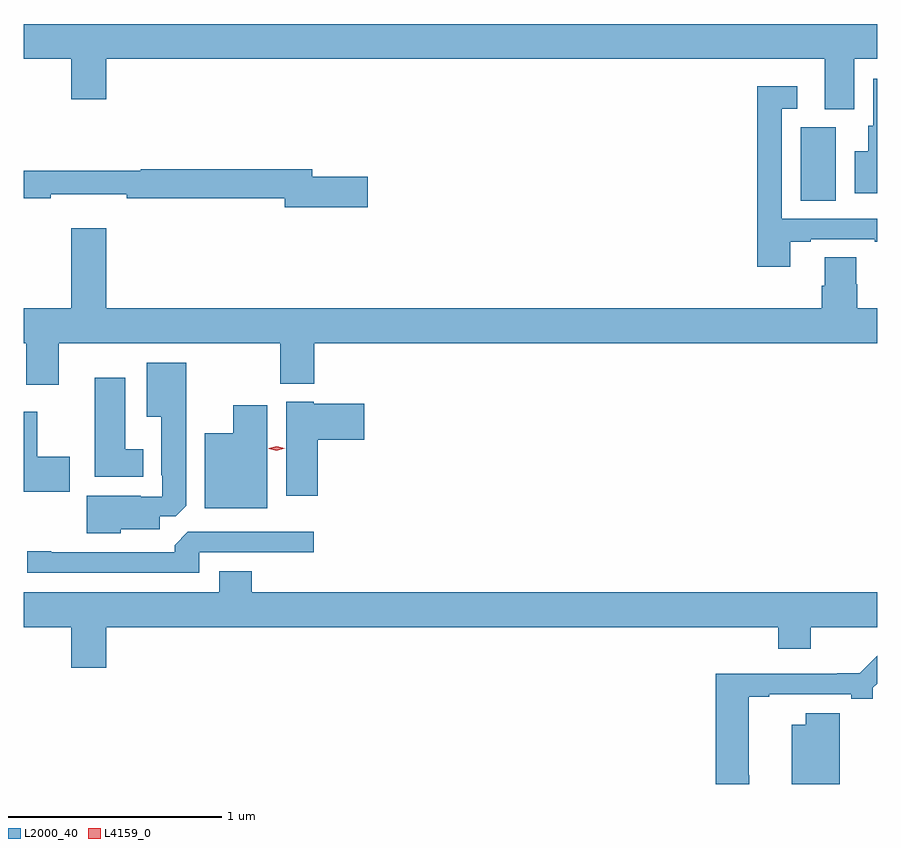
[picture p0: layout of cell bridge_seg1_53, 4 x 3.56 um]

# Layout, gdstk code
import gdstk
lib = gdstk.Library(unit=1e-6, precision=1e-09)
def R(c, l, rs):  # rectangles x0, y0, x1, y1
    for r in rs: c.add(gdstk.rectangle(r[:2], r[2:], *l))
def P(c, l, *ps):  # polygons
    for p in ps: c.add(gdstk.Polygon(p, *l))
L2000_40 = (2000, 40)
L4159_0 = (4159, 0)

bridge_seg1_53 = lib.new_cell('bridge_seg1_53')
R(bridge_seg1_53, L2000_40, [(432.164,541.744,432.328,542.088)])
P(bridge_seg1_53, L2000_40, [(432.415,542.408),(432.522,542.408),(432.522,542.572),(428.522,542.572),(428.522,542.408),(428.744,542.408),(428.744,542.22),(428.908,542.22),(428.908,542.408),(432.275,542.408),(432.275,542.173),(432.415,542.173)],
  [(432.522,542.316),(432.504,542.316),(432.504,542.094),(432.479,542.094),(432.479,541.975),(432.416,541.975),(432.416,541.779),(432.522,541.779)],
  [(432.115,541.551),(432.211,541.551),(432.211,541.563),(432.511,541.563),(432.511,541.551),(432.522,541.551),(432.522,541.659),(432.075,541.659),(432.075,542.175),(432.148,542.175),(432.148,542.281),(431.959,542.281),(431.959,541.434),(432.115,541.434)],
  [(430.135,541.856),(429.874,541.856),(429.874,541.892),(429.07,541.892),(429.07,541.885),(428.522,541.885),(428.522,541.756),(428.648,541.756),(428.648,541.775),(429.004,541.775),(429.004,541.756),(429.746,541.756),(429.746,541.714),(430.135,541.714)],
  [(428.686,541.076),(429.724,541.076),(429.724,540.887),(429.884,540.887),(429.884,541.076),(432.522,541.076),(432.522,541.24),(432.428,541.24),(432.428,541.353),(432.423,541.353),(432.423,541.478),(432.275,541.478),(432.275,541.346),(432.263,541.346),(432.263,541.24),(428.908,541.24),(428.908,541.615),(428.744,541.615),(428.744,541.24),(428.522,541.24),(428.522,541.076),(428.534,541.076),(428.534,540.882),(428.686,540.882)],
  [(428.976,540.203),(429.16,540.203),(429.16,540.264),(429.234,540.264),(429.283,540.313),(429.283,540.985),(429.098,540.985),(429.098,540.731),(429.167,540.731),(429.167,540.457),(429.171,540.457),(429.171,540.357),(429.071,540.357),(429.071,540.361),(428.816,540.361),(428.816,540.185),(428.976,540.185)],
  [(429.082,540.58),(428.998,540.58),(428.998,540.913),(428.855,540.913),(428.855,540.449),(429.082,540.449)],
  [(429.899,540.623),(430.117,540.623),(430.117,540.793),(429.882,540.793),(429.882,540.802),(429.752,540.802),(429.752,540.36),(429.899,540.36)],
  [(429.664,540.784),(429.503,540.784),(429.503,540.655),(429.371,540.655),(429.371,540.302),(429.664,540.302)],
  [(428.737,540.543),(428.584,540.543),(428.584,540.754),(428.522,540.754),(428.522,540.38),(428.737,540.38)],
  [(429.345,540.096),(429.88,540.096),(429.88,540.192),(429.291,540.192),(429.23,540.13),(429.23,540.096),(428.65,540.096),(428.65,540.101),(428.538,540.101),(428.538,540),(429.345,540)],
  [(428.908,539.744),(432.059,539.744),(432.059,539.645),(432.211,539.645),(432.211,539.744),(432.522,539.744),(432.522,539.908),(429.59,539.908),(429.59,540.007),(429.437,540.007),(429.437,539.908),(428.522,539.908),(428.522,539.744),(428.744,539.744),(428.744,539.556),(428.908,539.556)],
  [(431.923,539.05),(431.92,539.05),(431.92,539.418),(432.016,539.418),(432.016,539.43),(432.401,539.43),(432.401,539.41),(432.501,539.41),(432.501,539.46),(432.522,539.481),(432.522,539.61),(432.44,539.528),(432.335,539.528),(432.335,539.526),(431.765,539.526),(431.765,539.01),(431.923,539.01)],
  [(432.346,539.341),(432.188,539.341),(432.188,539.287),(432.122,539.287),(432.122,539.01),(432.346,539.01)])
P(bridge_seg1_53, L4159_0, [(429.708,540.573),(429.67,540.582),(429.67,540.582),(429.67,540.583),(429.708,540.593),(429.746,540.584),(429.746,540.584),(429.746,540.584)])

lib.write_gds('bridge_seg1_53.gds')
